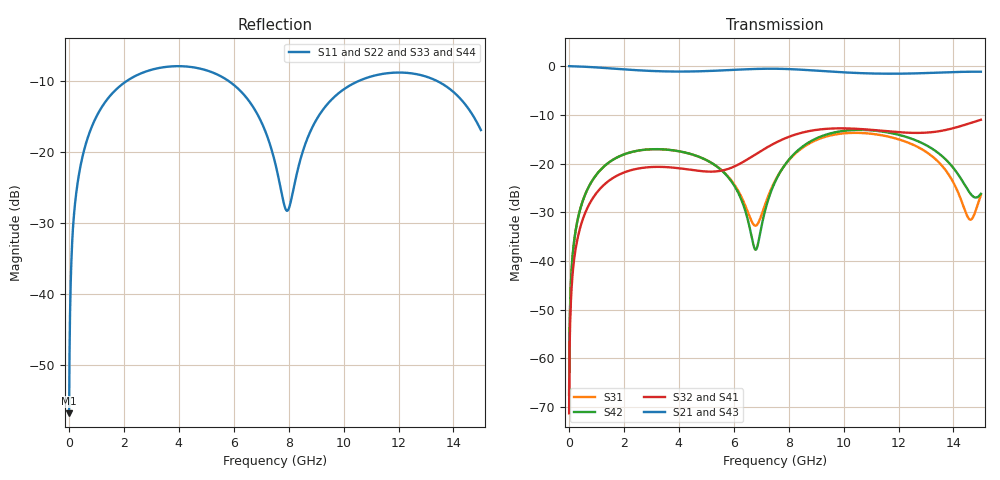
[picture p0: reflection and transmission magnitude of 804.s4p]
! Created with skrf 1.8.0 (http://scikit-rf.org).
# GHz S RI R 50.0
!freq ReS11 ImS11 ReS12 ImS12 ReS13 ImS13
! ReS14 ImS14
! ReS21 ImS21 ReS22 ImS22 ReS23 ImS23
! ReS24 ImS24
! ReS31 ImS31 ReS32 ImS32 ReS33 ImS33
! ReS34 ImS34
! ReS41 ImS41 ReS42 ImS42 ReS43 ImS43
! ReS44 ImS44
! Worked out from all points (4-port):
!   2499 points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, 5 MHz to 15 GHz, reference 50 ohm
!   strongest paths, dB at 5 MHz, 3.476 GHz, 7.19 GHz, 11.1 GHz, 15 GHz:
!     S21: 0.0, -1.1, -0.5, -1.5, -1.2
!     S43: 0.0, -1.1, -0.5, -1.5, -1.2
!     S32: -71.3, -20.7, -16.8, -13.1, -11.0
!     S41: -71.3, -20.7, -16.8, -13.0, -11.0
!     S42: -67.5, -17.1, -28.6, -13.2, -26.2
!     S31: -67.5, -17.1, -27.7, -14.0, -26.5
!   lowest |S11| = -56.9 dB at 5 MHz (marker M1), VSWR 1.00, Z = 50.1 + j0.0872 ohm
!   |S11| at or under -10 dB: start of sweep to 2.115 GHz; 5.802 GHz to 10.57 GHz (4.763 GHz wide, 58.2 % of centre); 13.39 GHz to end of sweep
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0.005  0.00114 0.00087  0.9988 -0.00222  5.48e-05 0.00042  -5.34e-05 -0.000267
       0.9988 -0.00222  0.00114 0.00087  -5.34e-05 -0.000267  5.48e-05 0.00042
       5.48e-05 0.00042  -5.34e-05 -0.000267  0.00114 0.00087  0.9988 -0.00222
       -5.34e-05 -0.000267  5.48e-05 0.00042  0.9988 -0.00222  0.00114 0.00087
0.4126719  0.0197 0.0756  0.9729 -0.182  0.0086 0.0332  -0.00723 -0.021
           0.9729 -0.182  0.0197 0.0756  -0.00722 -0.021  0.00865 0.0332
           0.0086 0.0332  -0.00722 -0.021  0.0197 0.0756  0.9729 -0.182
           -0.00723 -0.021  0.00865 0.0332  0.9729 -0.182  0.0197 0.0756
1.975823  0.233 0.1933  0.6278 -0.6824  0.1047 0.0648  -0.0784 -0.0181
          0.6278 -0.6824  0.2329 0.1933  -0.0782 -0.0182  0.1052 0.0643
          0.1047 0.0648  -0.0782 -0.0182  0.233 0.1932  0.6278 -0.6824
          -0.0784 -0.0181  0.1052 0.0643  0.6278 -0.6824  0.2328 0.1933
6.796582  0.11 -0.1592  -0.8088 -0.4699  -0.0211 -0.00915  -0.0585 0.1097
          -0.8088 -0.4699  0.1108 -0.1602  -0.0603 0.1087  -0.0122 -0.00455
          -0.0211 -0.00915  -0.0603 0.1087  0.1104 -0.1586  -0.809 -0.4698
          -0.0585 0.1097  -0.0122 -0.00455  -0.809 -0.4698  0.11 -0.1603
7.972072  0.0386 0.000849  -0.9328 -0.0259  -0.00466 0.1053  0.000932 0.1865
          -0.9328 -0.0259  0.0385 -0.00262  -0.00179 0.1863  0.0143 0.1054
          -0.00466 0.1053  -0.00179 0.1863  0.0402 0.00178  -0.9328 -0.0255
          0.000932 0.1865  0.0143 0.1054  -0.9328 -0.0255  0.0369 -0.00227
10.62318  0.2989 0.1135  -0.4595 0.7116  0.199 0.0532  0.2226 0.0504
          -0.4595 0.7116  0.2891 0.1139  0.2193 0.0542  0.2203 0.0222
          0.199 0.0532  0.2193 0.0542  0.3031 0.1113  -0.4589 0.7114
          0.2226 0.0504  0.2203 0.0222  -0.4589 0.7114  0.2871 0.1174
15  0.0957 -0.105  0.7743 0.4089  -0.0351 0.0317  0.1238 -0.2524
    0.7743 0.4089  0.1025 -0.0951  0.1337 -0.2475  -0.0459 0.0167
    -0.0351 0.0317  0.1337 -0.2475  0.0931 -0.1082  0.7737 0.4093
    0.1238 -0.2524  -0.0459 0.0167  0.7737 0.4093  0.1073 -0.0949
